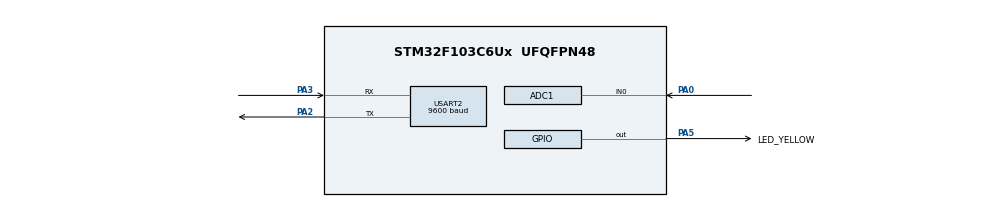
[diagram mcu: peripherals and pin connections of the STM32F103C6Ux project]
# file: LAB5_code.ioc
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ADC1.Channel-0\#ChannelRegularConversion=ADC_CHANNEL_0
ADC1.ContinuousConvMode=ENABLE
ADC1.NbrOfConversionFlag=1
ADC1.Rank-0\#ChannelRegularConversion=1
ADC1.SamplingTime-0\#ChannelRegularConversion=ADC_SAMPLETIME_1CYCLE_5
ADC1.master=1
Mcu.Family=STM32F1
Mcu.Name=STM32F103C6Ux
Mcu.Package=UFQFPN48
NVIC.PriorityGroup=NVIC_PRIORITYGROUP_4
NVIC.TIM2_IRQn=true\:0\:0\:false\:false\:true\:true\:true
NVIC.USART2_IRQn=true\:0\:0\:false\:false\:true\:true\:true
PA0-WKUP.Signal=ADCx_IN0
PA2.Mode=Asynchronous
PA2.Signal=USART2_TX
PA3.Mode=Asynchronous
PA3.Signal=USART2_RX
PA5.GPIO_Label=LED_YELLOW
PA5.Signal=GPIO_Output
ProjectManager.HeapSize=0x200
ProjectManager.StackSize=0x400
ProjectManager.TargetToolchain=STM32CubeIDE
RCC.APB1Freq_Value=8000000
RCC.APB2Freq_Value=8000000
SH.ADCx_IN0.0=ADC1_IN0,IN0
TIM2.Period=9
TIM2.Prescaler=7999
USART2.BaudRate=9600
USART2.VirtualMode=VM_ASYNC
VP_SYS_VS_ND.Mode=No_Debug
VP_TIM2_VS_ClockSourceINT.Mode=Internal
board=custom

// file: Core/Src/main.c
/* USER CODE BEGIN Header */
/**
  ******************************************************************************
  * @file           : main.c
  * @brief          : Main program body
  ******************************************************************************
  * @attention
  *
  * <h2><center>&copy; Copyright (c) 2024 STMicroelectronics.
  * All rights reserved.</center></h2>
  *
  * This software component is licensed by ST under BSD 3-Clause license,
  * the "License"; You may not use this file except in compliance with the
  * License. You may obtain a copy of the License at:
  *                        opensource.org/licenses/BSD-3-Clause
  *
  ******************************************************************************
  */
/* USER CODE END Header */
#include "main.h"
#include <string.h>
#include <stdio.h>
#include <stdint.h>
#include <stdlib.h>
/* USER CODE BEGIN Includes */
#include "software_timer.h"
/* USER CODE END Includes */

ADC_HandleTypeDef hadc1;

TIM_HandleTypeDef htim2;

UART_HandleTypeDef huart2;

/* USER CODE BEGIN PV */
#define MAX_BUFFER_SIZE 30
#define MAX_COMMAND_SIZE 5

#define INIT 0
#define CHECKING 1

uint8_t temp = 0;

uint8_t buffer[MAX_BUFFER_SIZE];
uint8_t index_buffer = 0;
uint8_t buffer_flag = 0;

uint8_t command_data[MAX_COMMAND_SIZE];
uint8_t index_command = 0;
uint8_t command_flag = 0;

uint32_t ADC_value;

int command_parser_status = INIT;
int uart_communication_status = INIT;
/* USER CODE END PV */

void SystemClock_Config(void);
static void MX_GPIO_Init(void);
static void MX_ADC1_Init(void);
static void MX_USART2_UART_Init(void);
static void MX_TIM2_Init(void);

/* USER CODE BEGIN 0 */
void HAL_TIM_PeriodElapsedCallback(TIM_HandleTypeDef *htim2)
{
	timerRun();
}

void HAL_UART_RxCpltCallback(UART_HandleTypeDef *huart)
{
	if(huart->Instance == USART2)
	{
		buffer[index_buffer] = temp;
		index_buffer++;
		if(index_buffer == MAX_BUFFER_SIZE)
		{
			HAL_UART_Transmit(&huart2,"\n\r",2,100);
			index_buffer = 0;
		}
		buffer_flag = 1;

		HAL_UART_Transmit(&huart2, &temp, 1, 100);
		HAL_UART_Receive_IT(&huart2, &temp, 1);
	}
}

void command_parser_fsm()
{
	switch(command_parser_status)
	{
	case INIT:
	{
		if(temp == 33)
		{
			for(uint8_t i = 0; i < MAX_COMMAND_SIZE; i++)
			{
				command_data[i] = 0;
			}
			index_command = 0;
			command_parser_status = CHECKING;
		}
		break;
	}
	case CHECKING:
	{
		switch(temp)
		{
		case 33:
		{
			command_parser_status = INIT;
			break;
		}
		case 35:
		{
			command_parser_status = INIT;
			command_flag = 1; //Active the command in UART

			break;
		}
		default:
		{
			command_data[index_command] = temp;
			index_command++;
			if(index_command == MAX_COMMAND_SIZE)
			{
				HAL_UART_Transmit(&huart2, "\n\r", 2, 100);
				char str[20];
				sprintf(str, "Command overflow.\n\r");
				HAL_UART_Transmit(&huart2, (uint8_t*)str, strlen(str), 100);

				command_parser_status = INIT;
			}
			break;
		}
		}

		break;
	}
	}
}

void uart_communication_fsm()
{
	switch(uart_communication_status)
	{
	case INIT:
	{
		if(command_flag == 1)
		{
			if(strcmp(command_data, "RST") == 0)
			{
				HAL_UART_Transmit(&huart2, "\n\r", 2, 100);

				HAL_ADC_Start(&hadc1);
				ADC_value = HAL_ADC_GetValue(&hadc1);

				char str[20];
				sprintf(str, "!ADC=%ld#\n\r", ADC_value);
				HAL_UART_Transmit(&huart2, (uint8_t*)str, strlen(str), 100);

				uart_communication_status = CHECKING;
				command_flag = 0;

				setTimer2(3000);
			}
			else
			{
				HAL_UART_Transmit(&huart2,"\n\r",2,100);

				char str[20];
				sprintf(str, "Invalid command: %s\n\r", command_data);
				HAL_UART_Transmit(&huart2, (uint8_t*)str, strlen(str), 100);

				uart_communication_status = INIT;
				command_flag = 0;
			}
		}
		break;
	}
	case CHECKING:
	{
		if(command_flag == 1)
		{
			if(strcmp(command_data, "OK") == 0)
			{
				HAL_UART_Transmit(&huart2,"\n\r",2,100);

				char str[20];
				sprintf(str, "Successfully quitting.\n\r");
				HAL_UART_Transmit(&huart2, (uint8_t*)str, strlen(str), 100);

				uart_communication_status = INIT;
				command_flag = 0;

				timer2_flag = 0;
			}
			else
			{
				HAL_UART_Transmit(&huart2,"\n\r",2,100);

				char str[20];
				sprintf(str, "Invalid command: %s\n\r", command_data);
				HAL_UART_Transmit(&huart2, (uint8_t*)str, strlen(str), 100);

				uart_communication_status = INIT;
				command_flag = 0;
			}
		}

		if(timer2_flag == 1)
		{
			char str[20];
			sprintf(str, "!ADC=%ld#\n\r", ADC_value);
			HAL_UART_Transmit(&huart2, (uint8_t*)str, strlen(str), 100);

			setTimer2(3000);
		}
		break;
	}
	}

}
/* USER CODE END 0 */

int main(void)
{

  /* MCU Configuration--------------------------------------------------------*/

  /* Reset of all peripherals, Initializes the Flash interface and the Systick. */
  HAL_Init();

  /* Configure the system clock */
  SystemClock_Config();

  /* Initialize all configured peripherals */
  MX_GPIO_Init();
  MX_TIM2_Init();
  MX_USART2_UART_Init();
  MX_ADC1_Init();
  /* USER CODE BEGIN 2 */
  HAL_TIM_Base_Start_IT(&htim2);
  HAL_UART_Receive_IT(&huart2, &temp, 1);
  HAL_ADC_Start(&hadc1);
  /* USER CODE END 2 */

  /* Infinite loop */
  /* USER CODE BEGIN WHILE */

  setTimer1(500);
  while (1)
  {
	  if(timer1_flag == 1)
	  {
		  HAL_GPIO_TogglePin(LED_YELLOW_GPIO_Port, LED_YELLOW_Pin);
		  setTimer1(500);
	  }

	  if (buffer_flag == 1)
	  {
		  command_parser_fsm();
		  buffer_flag = 0;
	  }
	  uart_communication_fsm();

    /* USER CODE END WHILE */

  }
}

void SystemClock_Config(void)
{
  RCC_OscInitTypeDef RCC_OscInitStruct = {0};
  RCC_ClkInitTypeDef RCC_ClkInitStruct = {0};
  RCC_PeriphCLKInitTypeDef PeriphClkInit = {0};

  /** Initializes the RCC Oscillators according to the specified parameters
  * in the RCC_OscInitTypeDef structure.
  */
  RCC_OscInitStruct.OscillatorType = RCC_OSCILLATORTYPE_HSI;
  RCC_OscInitStruct.HSIState = RCC_HSI_ON;
  RCC_OscInitStruct.HSICalibrationValue = RCC_HSICALIBRATION_DEFAULT;
  RCC_OscInitStruct.PLL.PLLState = RCC_PLL_NONE;
  if (HAL_RCC_OscConfig(&RCC_OscInitStruct) != HAL_OK)
  {
    Error_Handler();
  }
  /** Initializes the CPU, AHB and APB buses clocks
  */
  RCC_ClkInitStruct.ClockType = RCC_CLOCKTYPE_HCLK|RCC_CLOCKTYPE_SYSCLK
                              |RCC_CLOCKTYPE_PCLK1|RCC_CLOCKTYPE_PCLK2;
  RCC_ClkInitStruct.SYSCLKSource = RCC_SYSCLKSOURCE_HSI;
  RCC_ClkInitStruct.AHBCLKDivider = RCC_SYSCLK_DIV1;
  RCC_ClkInitStruct.APB1CLKDivider = RCC_HCLK_DIV1;
  RCC_ClkInitStruct.APB2CLKDivider = RCC_HCLK_DIV1;

  if (HAL_RCC_ClockConfig(&RCC_ClkInitStruct, FLASH_LATENCY_0) != HAL_OK)
  {
    Error_Handler();
  }
  PeriphClkInit.PeriphClockSelection = RCC_PERIPHCLK_ADC;
  PeriphClkInit.AdcClockSelection = RCC_ADCPCLK2_DIV2;
  if (HAL_RCCEx_PeriphCLKConfig(&PeriphClkInit) != HAL_OK)
  {
    Error_Handler();
  }
}

static void MX_ADC1_Init(void)
{

  ADC_ChannelConfTypeDef sConfig = {0};

  /** Common config
  */
  hadc1.Instance = ADC1;
  hadc1.Init.ScanConvMode = ADC_SCAN_DISABLE;
  hadc1.Init.ContinuousConvMode = ENABLE;
  hadc1.Init.DiscontinuousConvMode = DISABLE;
  hadc1.Init.ExternalTrigConv = ADC_SOFTWARE_START;
  hadc1.Init.DataAlign = ADC_DATAALIGN_RIGHT;
  hadc1.Init.NbrOfConversion = 1;
  if (HAL_ADC_Init(&hadc1) != HAL_OK)
  {
    Error_Handler();
  }
  /** Configure Regular Channel
  */
  sConfig.Channel = ADC_CHANNEL_0;
  sConfig.Rank = ADC_REGULAR_RANK_1;
  sConfig.SamplingTime = ADC_SAMPLETIME_1CYCLE_5;
  if (HAL_ADC_ConfigChannel(&hadc1, &sConfig) != HAL_OK)
  {
    Error_Handler();
  }

}

static void MX_TIM2_Init(void)
{

  TIM_ClockConfigTypeDef sClockSourceConfig = {0};
  TIM_MasterConfigTypeDef sMasterConfig = {0};

  htim2.Instance = TIM2;
  htim2.Init.Prescaler = 7999;
  htim2.Init.CounterMode = TIM_COUNTERMODE_UP;
  htim2.Init.Period = 9;
  htim2.Init.ClockDivision = TIM_CLOCKDIVISION_DIV1;
  htim2.Init.AutoReloadPreload = TIM_AUTORELOAD_PRELOAD_DISABLE;
  if (HAL_TIM_Base_Init(&htim2) != HAL_OK)
  {
    Error_Handler();
  }
  sClockSourceConfig.ClockSource = TIM_CLOCKSOURCE_INTERNAL;
  if (HAL_TIM_ConfigClockSource(&htim2, &sClockSourceConfig) != HAL_OK)
  {
    Error_Handler();
  }
  sMasterConfig.MasterOutputTrigger = TIM_TRGO_RESET;
  sMasterConfig.MasterSlaveMode = TIM_MASTERSLAVEMODE_DISABLE;
  if (HAL_TIMEx_MasterConfigSynchronization(&htim2, &sMasterConfig) != HAL_OK)
  {
    Error_Handler();
  }

}

static void MX_USART2_UART_Init(void)
{

  huart2.Instance = USART2;
  huart2.Init.BaudRate = 9600;
  huart2.Init.WordLength = UART_WORDLENGTH_8B;
  huart2.Init.StopBits = UART_STOPBITS_1;
  huart2.Init.Parity = UART_PARITY_NONE;
  huart2.Init.Mode = UART_MODE_TX_RX;
  huart2.Init.HwFlowCtl = UART_HWCONTROL_NONE;
  huart2.Init.OverSampling = UART_OVERSAMPLING_16;
  if (HAL_UART_Init(&huart2) != HAL_OK)
  {
    Error_Handler();
  }

}

static void MX_GPIO_Init(void)
{
  GPIO_InitTypeDef GPIO_InitStruct = {0};

  /* GPIO Ports Clock Enable */
  __HAL_RCC_GPIOA_CLK_ENABLE();

  /*Configure GPIO pin Output Level */
  HAL_GPIO_WritePin(LED_YELLOW_GPIO_Port, LED_YELLOW_Pin, GPIO_PIN_RESET);

  /*Configure GPIO pin : LED_YELLOW_Pin */
  GPIO_InitStruct.Pin = LED_YELLOW_Pin;
  GPIO_InitStruct.Mode = GPIO_MODE_OUTPUT_PP;
  GPIO_InitStruct.Pull = GPIO_NOPULL;
  GPIO_InitStruct.Speed = GPIO_SPEED_FREQ_LOW;
  HAL_GPIO_Init(LED_YELLOW_GPIO_Port, &GPIO_InitStruct);

}

void Error_Handler(void)
{
  __disable_irq();
  while (1)
  {
  }
}

/************************ (C) COPYRIGHT STMicroelectronics *****END OF FILE****/
